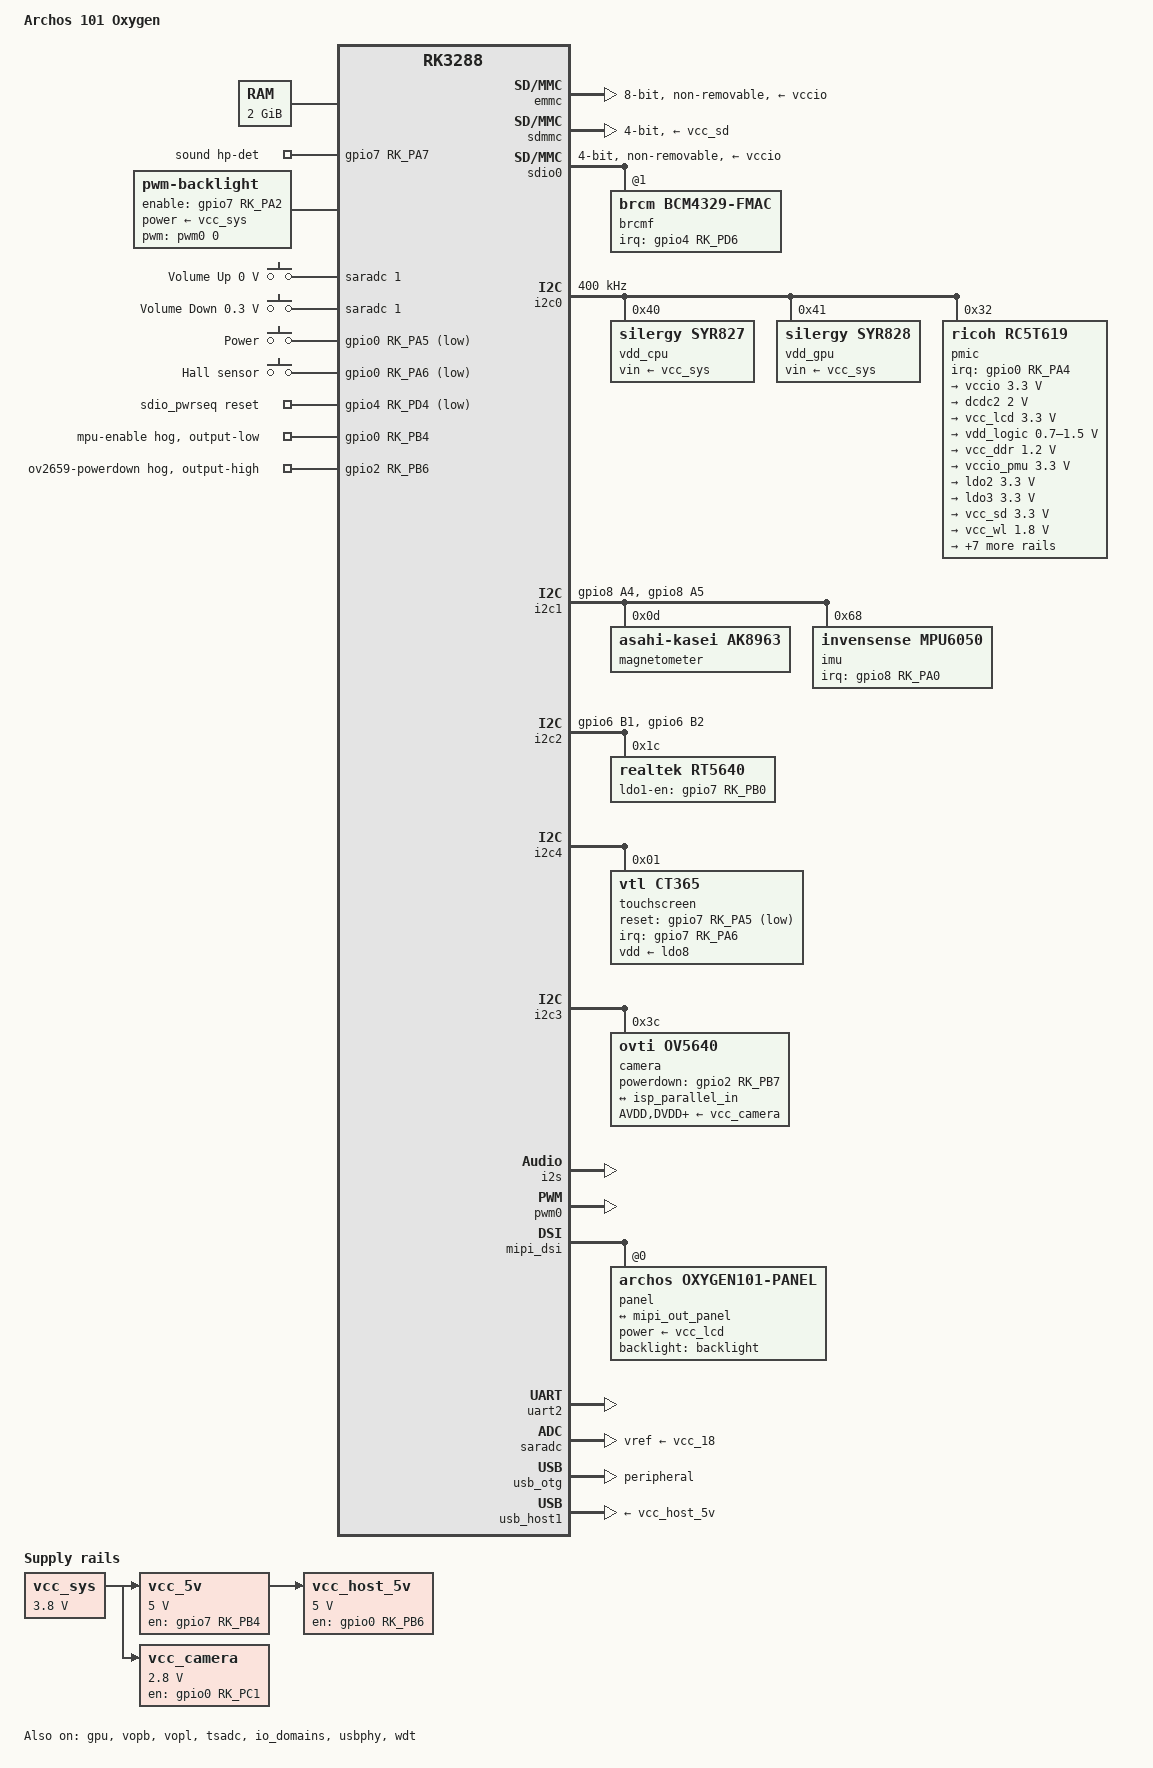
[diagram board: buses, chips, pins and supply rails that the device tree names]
// SPDX-License-Identifier: (GPL-2.0+ OR MIT)
/*
 * Archos 101 Oxygen (ac101ox) tablet, RK3288.
 * Bring-up DTS derived from the stock Android 4.4 device tree.
 */

/dts-v1/;
#include <dt-bindings/gpio/gpio.h>
#include <dt-bindings/input/input.h>
#include <dt-bindings/media/video-interfaces.h>
#include <dt-bindings/interrupt-controller/irq.h>
#include <dt-bindings/pinctrl/rockchip.h>
#include <dt-bindings/pwm/pwm.h>
#include "rk3288.dtsi"

/ {
	model = "Archos 101 Oxygen";
	compatible = "archos,oxygen101", "rockchip,rk3288";

	aliases {
		mmc0 = &emmc;
		mmc1 = &sdmmc;
		mmc2 = &sdio0;
	};

	chosen {
		stdout-path = "serial2:115200n8";
	};

	reserved-memory {
		ramoops@7ff00000 {
			compatible = "ramoops";
			reg = <0x0 0x7ff00000 0x0 0x100000>;
			record-size = <0x20000>;
			console-size = <0x80000>;
			pmsg-size = <0x20000>;
		};
	};

	memory@0 {
		device_type = "memory";
		reg = <0x0 0x0 0x0 0x80000000>;
	};

	vcc_sys: regulator-vcc-sys {
		compatible = "regulator-fixed";
		regulator-name = "vcc_sys";
		regulator-min-microvolt = <3800000>;
		regulator-max-microvolt = <3800000>;
		regulator-always-on;
		regulator-boot-on;
	};

	vcc_5v: regulator-vcc-5v {
		compatible = "regulator-fixed";
		regulator-name = "vcc_5v";
		regulator-min-microvolt = <5000000>;
		regulator-max-microvolt = <5000000>;
		gpio = <&gpio7 RK_PB4 GPIO_ACTIVE_HIGH>;
		enable-active-high;
		regulator-always-on;
		regulator-boot-on;
		vin-supply = <&vcc_sys>;
	};

	vcc_host_5v: regulator-vcc-host-5v {
		compatible = "regulator-fixed";
		regulator-name = "vcc_host_5v";
		regulator-min-microvolt = <5000000>;
		regulator-max-microvolt = <5000000>;
		gpio = <&gpio0 RK_PB6 GPIO_ACTIVE_HIGH>;
		enable-active-high;
		vin-supply = <&vcc_5v>;
	};

	/* Both cameras; the stock kernel calls the enable "pwen" */
	vcc_camera: regulator-vcc-camera {
		compatible = "regulator-fixed";
		regulator-name = "vcc_camera";
		regulator-min-microvolt = <2800000>;
		regulator-max-microvolt = <2800000>;
		gpio = <&gpio0 RK_PC1 GPIO_ACTIVE_HIGH>;
		enable-active-high;
		vin-supply = <&vcc_sys>;
	};

	isp: isp@ff910000 {
		compatible = "rockchip,rk3288-cif-isp";
		reg = <0x0 0xff910000 0x0 0x4000>;
		interrupts = <GIC_SPI 14 IRQ_TYPE_LEVEL_HIGH>;
		clocks = <&cru SCLK_ISP>, <&cru ACLK_ISP>, <&cru HCLK_ISP>,
			 <&cru PCLK_ISP_IN>, <&cru SCLK_ISP_JPE>;
		clock-names = "isp", "aclk", "hclk", "pclk", "jpe";
		iommus = <&isp_mmu>;
		power-domains = <&power RK3288_PD_VIO>;
		pinctrl-names = "default";
		pinctrl-0 = <&isp_dvp>;

		ports {
			#address-cells = <1>;
			#size-cells = <0>;

			port@1 {
				reg = <1>;

				/*
				 * The sensor's D9-D2 reach the ISP's D7-D0, the
				 * low lines of its 12-line bus; polarities as
				 * the stock kernel programs them.
				 */
				isp_parallel_in: endpoint {
					remote-endpoint = <&ov5640_out>;
					bus-type = <MEDIA_BUS_TYPE_PARALLEL>;
					bus-width = <12>;
					hsync-active = <1>;
					vsync-active = <0>;
					pclk-sample = <1>;
				};
			};
		};
	};

	sound {
		compatible = "simple-audio-card";
		simple-audio-card,name = "Archos 101 Oxygen";
		simple-audio-card,format = "i2s";
		simple-audio-card,mclk-fs = <256>;
		simple-audio-card,hp-det-gpios = <&gpio7 RK_PA7 GPIO_ACTIVE_HIGH>;
		pinctrl-names = "default";
		pinctrl-0 = <&hp_det>;
		simple-audio-card,widgets =
			"Speaker", "Speaker",
			"Headphone", "Headphones",
			"Microphone", "Internal Mic",
			"Microphone", "Headset Mic";
		simple-audio-card,routing =
			"Speaker", "SPOLP",
			"Speaker", "SPOLN",
			"Speaker", "SPORP",
			"Speaker", "SPORN",
			"Headphones", "HPOL",
			"Headphones", "HPOR",
			"IN1P", "Internal Mic",
			"IN2P", "Headset Mic",
			"Headset Mic", "MICBIAS1",
			"Internal Mic", "MICBIAS1";

		simple-audio-card,cpu {
			sound-dai = <&i2s>;
		};

		simple-audio-card,codec {
			sound-dai = <&rt5640>;
		};
	};

	backlight: backlight {
		compatible = "pwm-backlight";
		pwms = <&pwm0 0 25000 0>;
		enable-gpios = <&gpio7 RK_PA2 GPIO_ACTIVE_HIGH>;
		brightness-levels = <0 255>;
		num-interpolated-steps = <255>;
		default-brightness-level = <200>;
		power-supply = <&vcc_sys>;
	};

	adc-keys {
		compatible = "adc-keys";
		io-channels = <&saradc 1>;
		io-channel-names = "buttons";
		keyup-threshold-microvolt = <1800000>;
		poll-interval = <100>;

		button-volume-up {
			label = "Volume Up";
			linux,code = <KEY_VOLUMEUP>;
			press-threshold-microvolt = <0>;
		};

		button-volume-down {
			label = "Volume Down";
			linux,code = <KEY_VOLUMEDOWN>;
			press-threshold-microvolt = <300000>;
		};
	};

	gpio-keys {
		compatible = "gpio-keys";
		pinctrl-names = "default";
		pinctrl-0 = <&pwr_key>;

		power-key {
			label = "Power";
			gpios = <&gpio0 RK_PA5 GPIO_ACTIVE_LOW>;
			linux,code = <KEY_POWER>;
			debounce-interval = <20>;
			wakeup-source;
		};

		lid-switch {
			label = "Hall sensor";
			gpios = <&gpio0 RK_PA6 GPIO_ACTIVE_LOW>;
			linux,input-type = <EV_SW>;
			linux,code = <SW_LID>;
			wakeup-source;
		};
	};

	sdio_pwrseq: sdio-pwrseq {
		compatible = "mmc-pwrseq-simple";
		reset-gpios = <&gpio4 RK_PD4 GPIO_ACTIVE_LOW>;
		post-power-on-delay-ms = <50>;
	};
};

&cpu0 {
	cpu-supply = <&vdd_cpu>;
};

&emmc {
	bus-width = <8>;
	cap-mmc-highspeed;
	non-removable;
	pinctrl-names = "default";
	pinctrl-0 = <&emmc_clk &emmc_cmd &emmc_pwr &emmc_bus8>;
	vmmc-supply = <&vccio>;
	vqmmc-supply = <&vcc_18>;
	status = "okay";
};

&sdmmc {
	bus-width = <4>;
	cap-sd-highspeed;
	broken-cd;
	card-detect-delay = <200>;
	disable-wp;
	pinctrl-names = "default";
	pinctrl-0 = <&sdmmc_clk &sdmmc_cmd &sdmmc_bus4>;
	vmmc-supply = <&vcc_sd>;
	status = "okay";
};

&sdio0 {
	#address-cells = <1>;
	#size-cells = <0>;
	bus-width = <4>;
	cap-sd-highspeed;
	cap-sdio-irq;
	keep-power-in-suspend;
	mmc-pwrseq = <&sdio_pwrseq>;
	non-removable;
	pinctrl-names = "default";
	pinctrl-0 = <&sdio0_bus4 &sdio0_cmd &sdio0_clk>;
	vmmc-supply = <&vccio>;
	vqmmc-supply = <&vcc_wl>;
	status = "okay";

	brcmf: wifi@1 {
		compatible = "brcm,bcm4329-fmac";
		reg = <1>;
		interrupt-parent = <&gpio4>;
		interrupts = <RK_PD6 IRQ_TYPE_LEVEL_HIGH>;
		interrupt-names = "host-wake";
	};
};

&i2c0 {
	clock-frequency = <400000>;
	status = "okay";

	/* Same CPU/GPU supplies as the veyron Chromebooks, VSEL0 in use */
	vdd_cpu: regulator@40 {
		compatible = "silergy,syr827";
		reg = <0x40>;
		fcs,suspend-voltage-selector = <1>;
		regulator-name = "vdd_cpu";
		regulator-min-microvolt = <850000>;
		regulator-max-microvolt = <1350000>;
		regulator-ramp-delay = <8000>;
		regulator-always-on;
		regulator-boot-on;
		vin-supply = <&vcc_sys>;
	};

	vdd_gpu: regulator@41 {
		compatible = "silergy,syr828";
		reg = <0x41>;
		fcs,suspend-voltage-selector = <1>;
		regulator-name = "vdd_gpu";
		regulator-min-microvolt = <850000>;
		regulator-max-microvolt = <1250000>;
		regulator-ramp-delay = <6000>;
		regulator-always-on;
		regulator-boot-on;
		vin-supply = <&vcc_sys>;
	};

	pmic: pmic@32 {
		compatible = "ricoh,rc5t619";
		reg = <0x32>;
		interrupt-parent = <&gpio0>;
		interrupts = <RK_PA4 IRQ_TYPE_LEVEL_LOW>;
		system-power-controller;

		regulators {
			/* All rails kept on at their stock settings for bring-up. */
			vccio: DCDC1 {
				regulator-name = "vccio";
				regulator-min-microvolt = <3300000>;
				regulator-max-microvolt = <3300000>;
				regulator-always-on;
				regulator-boot-on;
			};

			dcdc2: DCDC2 {
				regulator-name = "ricoh_dcdc2";
				regulator-min-microvolt = <2000000>;
				regulator-max-microvolt = <2000000>;
				regulator-always-on;
				regulator-boot-on;
			};

			vcc_lcd: DCDC3 {
				regulator-name = "vcc_lcd";
				regulator-min-microvolt = <3300000>;
				regulator-max-microvolt = <3300000>;
				regulator-always-on;
				regulator-boot-on;
			};

			vdd_logic: DCDC4 {
				regulator-name = "vdd_logic";
				regulator-min-microvolt = <700000>;
				regulator-max-microvolt = <1500000>;
				regulator-always-on;
				regulator-boot-on;
			};

			vcc_ddr: DCDC5 {
				regulator-name = "vcc_ddr";
				regulator-min-microvolt = <1200000>;
				regulator-max-microvolt = <1200000>;
				regulator-always-on;
				regulator-boot-on;
			};

			vccio_pmu: LDO1 {
				regulator-name = "vccio_pmu";
				regulator-min-microvolt = <3300000>;
				regulator-max-microvolt = <3300000>;
				regulator-always-on;
				regulator-boot-on;
			};

			ldo2: LDO2 {
				regulator-name = "ricoh_ldo2";
				regulator-min-microvolt = <3300000>;
				regulator-max-microvolt = <3300000>;
				regulator-always-on;
				regulator-boot-on;
			};

			ldo3: LDO3 {
				regulator-name = "ricoh_ldo3";
				regulator-min-microvolt = <3300000>;
				regulator-max-microvolt = <3300000>;
				regulator-always-on;
				regulator-boot-on;
			};

			vcc_sd: LDO4 {
				regulator-name = "vcc_sd";
				regulator-min-microvolt = <3300000>;
				regulator-max-microvolt = <3300000>;
				regulator-always-on;
				regulator-boot-on;
			};

			vcc_wl: LDO5 {
				regulator-name = "vcc_wl";
				regulator-min-microvolt = <1800000>;
				regulator-max-microvolt = <1800000>;
				regulator-always-on;
				regulator-boot-on;
			};

			ldo6: LDO6 {
				regulator-name = "ricoh_ldo6";
				regulator-min-microvolt = <1800000>;
				regulator-max-microvolt = <1800000>;
				regulator-always-on;
				regulator-boot-on;
			};

			ldo7: LDO7 {
				regulator-name = "ricoh_ldo7";
				regulator-min-microvolt = <1000000>;
				regulator-max-microvolt = <1000000>;
				regulator-always-on;
				regulator-boot-on;
			};

			ldo8: LDO8 {
				regulator-name = "ricoh_ldo8";
				regulator-min-microvolt = <3300000>;
				regulator-max-microvolt = <3300000>;
				regulator-always-on;
				regulator-boot-on;
			};

			ldo9: LDO9 {
				regulator-name = "ricoh_ldo9";
				regulator-min-microvolt = <1000000>;
				regulator-max-microvolt = <1000000>;
				regulator-always-on;
				regulator-boot-on;
			};

			vcc_18: LDO10 {
				regulator-name = "vcc_18";
				regulator-min-microvolt = <1800000>;
				regulator-max-microvolt = <1800000>;
				regulator-always-on;
				regulator-boot-on;
			};

			ldortc1: LDORTC1 {
				regulator-name = "ricoh_ldortc1";
				regulator-min-microvolt = <3300000>;
				regulator-max-microvolt = <3300000>;
				regulator-always-on;
				regulator-boot-on;
			};

			ldortc2: LDORTC2 {
				regulator-name = "ricoh_ldortc2";
				regulator-min-microvolt = <3300000>;
				regulator-max-microvolt = <3300000>;
				regulator-always-on;
				regulator-boot-on;
			};
		};
	};
};

&gpu {
	mali-supply = <&vdd_gpu>;
	status = "okay";
};

&i2c1 {
	/* The stock kernel uses the internal pull-ups; the MPU-6050 needs them */
	pinctrl-0 = <&i2c1_xfer_pu>;
	status = "okay";

	magnetometer@d {
		compatible = "asahi-kasei,ak8963";
		reg = <0x0d>;
	};

	imu@68 {
		compatible = "invensense,mpu6050";
		reg = <0x68>;
		interrupt-parent = <&gpio8>;
		interrupts = <RK_PA0 IRQ_TYPE_EDGE_RISING>;
		pinctrl-names = "default";
		pinctrl-0 = <&mpu_int>;
		/* The chip sits upside down: Y and Z point the other way */
		mount-matrix = "1",  "0",  "0",
			       "0", "-1",  "0",
			       "0",  "0", "-1";
	};
};

&i2c2 {
	pinctrl-0 = <&i2c2_xfer_pu>;
	status = "okay";

	/* Realtek RT5640, sold to Rockchip as "RT3224"/"RT3261" */
	rt5640: audio-codec@1c {
		compatible = "realtek,rt5640";
		reg = <0x1c>;
		clocks = <&cru SCLK_I2S0_OUT>;
		clock-names = "mclk";
		realtek,ldo1-en-gpios = <&gpio7 RK_PB0 GPIO_ACTIVE_HIGH>;
		#sound-dai-cells = <0>;
	};
};

&i2c4 {
	status = "okay";

	touchscreen@1 {
		compatible = "vtl,ct365";
		reg = <0x01>;
		/* Exact rail unknown, one of the always-on Ricoh 3.3 V LDOs */
		vdd-supply = <&ldo8>;
		interrupt-parent = <&gpio7>;
		interrupts = <RK_PA6 IRQ_TYPE_EDGE_FALLING>;
		pinctrl-names = "default";
		pinctrl-0 = <&ts_int>;
		reset-gpios = <&gpio7 RK_PA5 GPIO_ACTIVE_LOW>;
		touchscreen-size-x = <1920>;
		touchscreen-size-y = <1200>;
	};
};

&gpio0 {
	/*
	 * Not in the stock device tree, which calls this pin "otg_drv". The
	 * stock kernel drives it low, and the MPU-6050 doesn't answer
	 * otherwise.
	 */
	mpu-enable-hog {
		gpio-hog;
		gpios = <RK_PB4 GPIO_ACTIVE_HIGH>;
		output-low;
		line-name = "mpu-enable";
	};
};

&gpio2 {
	/* Front camera (OV2659): keep it off the shared parallel bus */
	ov2659-powerdown-hog {
		gpio-hog;
		gpios = <RK_PB6 GPIO_ACTIVE_HIGH>;
		output-high;
		line-name = "ov2659-powerdown";
	};
};

&i2c3 {
	status = "okay";

	/* Back camera */
	camera@3c {
		compatible = "ovti,ov5640";
		reg = <0x3c>;
		clocks = <&cru SCLK_VIP_OUT>;
		clock-names = "xclk";
		assigned-clocks = <&cru SCLK_VIP_OUT>;
		assigned-clock-parents = <&xin24m>;
		assigned-clock-rates = <24000000>;
		pinctrl-names = "default";
		pinctrl-0 = <&isp_clkout>;
		powerdown-gpios = <&gpio2 RK_PB7 GPIO_ACTIVE_HIGH>;
		AVDD-supply = <&vcc_camera>;
		DVDD-supply = <&vcc_camera>;
		DOVDD-supply = <&vcc_camera>;
		/* On the back, upright in landscape */
		orientation = <1>;
		rotation = <0>;

		port {
			/* Gives the stock POLARITY_CTRL00 value, 0x20 */
			ov5640_out: endpoint {
				remote-endpoint = <&isp_parallel_in>;
				bus-type = <MEDIA_BUS_TYPE_PARALLEL>;
				bus-width = <8>;
				data-shift = <2>;
				hsync-active = <0>;
				vsync-active = <1>;
				pclk-sample = <1>;
			};
		};
	};
};

&i2s {
	status = "okay";
};

&isp_mmu {
	status = "okay";
};

&pinctrl {
	headphone {
		hp_det: hp-det {
			rockchip,pins = <7 RK_PA7 RK_FUNC_GPIO &pcfg_pull_none>;
		};
	};

	i2c1 {
		i2c1_xfer_pu: i2c1-xfer-pu {
			rockchip,pins = <8 RK_PA4 1 &pcfg_pull_up>,
					<8 RK_PA5 1 &pcfg_pull_up>;
		};
	};

	i2c2 {
		i2c2_xfer_pu: i2c2-xfer-pu {
			rockchip,pins = <6 RK_PB1 1 &pcfg_pull_up>,
					<6 RK_PB2 1 &pcfg_pull_up>;
		};
	};

	isp {
		/*
		 * D0-D7, vsync, href, pixel clock. D8-D11 stay GPIOs so the
		 * ISP reads them as 0: D8/D9 are pulled up, D10/D11 are the
		 * cameras' power-down lines.
		 */
		isp_dvp: isp-dvp {
			rockchip,pins = <2 RK_PB4 1 &pcfg_pull_none>,
					<2 RK_PB5 1 &pcfg_pull_none>,
					<2 RK_PA0 1 &pcfg_pull_none>,
					<2 RK_PA1 1 &pcfg_pull_none>,
					<2 RK_PA2 1 &pcfg_pull_none>,
					<2 RK_PA3 1 &pcfg_pull_none>,
					<2 RK_PA4 1 &pcfg_pull_none>,
					<2 RK_PA5 1 &pcfg_pull_none>,
					<2 RK_PB0 1 &pcfg_pull_none>,
					<2 RK_PB1 1 &pcfg_pull_none>,
					<2 RK_PB2 1 &pcfg_pull_none>;
		};

		isp_clkout: isp-clkout {
			rockchip,pins = <2 RK_PB3 1 &pcfg_pull_none>;
		};
	};

	imu {
		mpu_int: mpu-int {
			rockchip,pins = <8 RK_PA0 RK_FUNC_GPIO &pcfg_pull_none>;
		};
	};

	keys {
		pwr_key: pwr-key {
			rockchip,pins = <0 RK_PA5 RK_FUNC_GPIO &pcfg_pull_up>;
		};
	};

	touchscreen {
		ts_int: ts-int {
			rockchip,pins = <7 RK_PA6 RK_FUNC_GPIO &pcfg_pull_up>;
		};
	};
};

&pwm0 {
	status = "okay";
};

&mipi_dsi {
	#address-cells = <1>;
	#size-cells = <0>;
	status = "okay";

	panel: panel@0 {
		compatible = "archos,oxygen101-panel";
		reg = <0>;
		backlight = <&backlight>;
		power-supply = <&vcc_lcd>;

		port {
			panel_in_mipi: endpoint {
				remote-endpoint = <&mipi_out_panel>;
			};
		};
	};
};

&mipi_out {
	mipi_out_panel: endpoint {
		remote-endpoint = <&panel_in_mipi>;
	};
};

&vopb {
	status = "okay";
};

&vopb_mmu {
	status = "okay";
};

&vopl {
	status = "okay";
};

&vopl_mmu {
	status = "okay";
};

&uart2 {
	status = "okay";
};

&tsadc {
	status = "okay";
};

/*
 * I/O voltage domains, from the stock kernel's io_vol_domain nodes. The
 * SDIO WiFi bus runs at 1.8 V; Android's warm reboot kept this setting
 * in the GRF, a full reset does not.
 */
&io_domains {
	status = "okay";

	/* The codec side of I2S and I2C2 runs at 1.8 V */
	audio-supply = <&vcc_18>;
	bb-supply = <&vccio>;
	dvp-supply = <&vcc_18>;
	flash0-supply = <&vcc_18>;
	flash1-supply = <&vccio>;
	gpio1830-supply = <&vccio>;
	gpio30-supply = <&vccio_pmu>;
	lcdc-supply = <&vcc_lcd>;
	sdcard-supply = <&vcc_sd>;
	wifi-supply = <&vcc_wl>;
};

&saradc {
	vref-supply = <&vcc_18>;
	status = "okay";
};

/* Micro-USB port: gadget for the pmOS USB network / debug shell. */
&usb_otg {
	dr_mode = "peripheral";
	status = "okay";
};

&usbphy {
	status = "okay";
};

&usb_host1 {
	vbus-supply = <&vcc_host_5v>;
	status = "okay";
};

&wdt {
	status = "okay";
};
